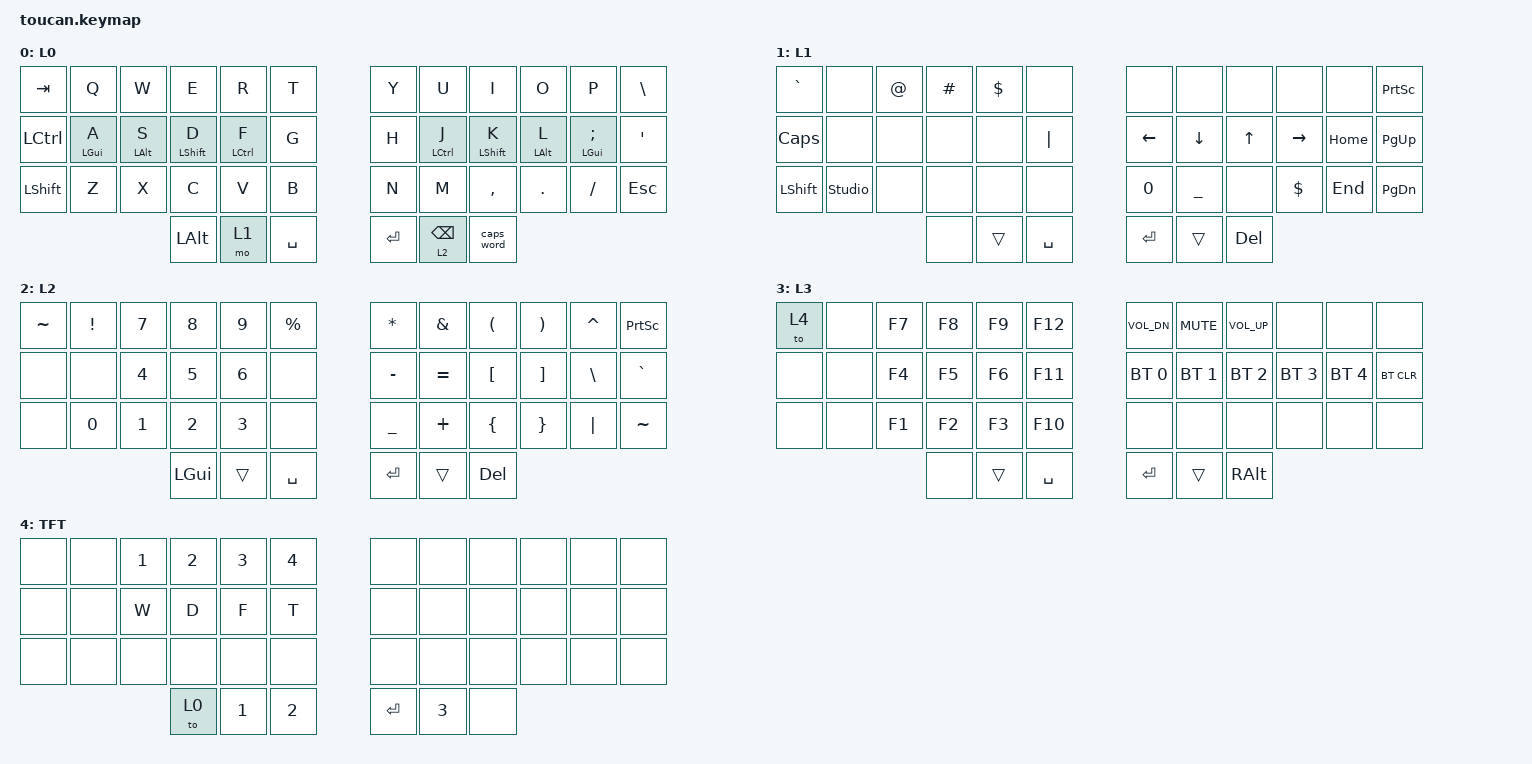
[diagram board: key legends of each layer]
#include <behaviors.dtsi>
#include <dt-bindings/zmk/keys.h>
#include <dt-bindings/zmk/bt.h>
#include <dt-bindings/zmk/outputs.h>

#define L0  0
#define L1  1
#define L2  2
#define L3  3
#define TFT 4

&mt {
    flavor = "tap-preferred";
    tapping-term-ms = <200>;
};

&lt {
    tapping-term-ms = <200>;
    quick-tap-ms = <175>;
    flavor = "tap-preferred";
};

/ {    
    conditional_layers {
        compatible = "zmk,conditional-layers";
        tri_layer {
            if-layers = <1 2>;
            then-layer = <3>;
        };
    };

    behaviors {
        hml: homerow_mod_left {
            compatible = "zmk,behavior-hold-tap";
            label = "HOME_ROW_MOD";
            display-name = "HRM-Left";
            #binding-cells = <2>;
            flavor = "balanced";
            require-prior-idle-ms = <125>;
            tapping-term-ms = <280>;
            quick_tap_ms = <175>;
            bindings = <&kp>, <&kp>;
            hold-trigger-key-positions = <6 7 8 9 10 11 18 19 20 21 22 23 30 31 32 33 34 35 39 40 41>;
            hold-trigger-on-release;
        };
        hmr: homerow_mod_right {
            compatible = "zmk,behavior-hold-tap";
            label = "HOME_ROW_MOD";
            display-name = "HRM-Right";
            #binding-cells = <2>;
            flavor = "balanced";
            require-prior-idle-ms = <125>;
            tapping-term-ms = <280>;
            quick_tap_ms = <175>;
            bindings = <&kp>, <&kp>;
            hold-trigger-key-positions = <0 1 2 3 4 5 12 13 14 15 16 17 24 25 26 27 28 29 36 37 38>;
            hold-trigger-on-release;
        };
    };

    keymap {
        compatible = "zmk,keymap";

        l0 {
            display-name = "L0";
            bindings = <
                &kp TAB   &kp  Q      &kp W       &kp  E        &kp  R       &kp T     &kp Y   &kp  U       &kp  I        &kp  O      &kp  P         &kp BSLH
                &kp LCTRL &hml LGUI A &hml LALT S &hml LSHIFT D &hml LCTRL F &kp G     &kp H   &hmr LCTRL J &hmr LSHIFT K &hmr LALT L &hmr LGUI SEMI &kp SQT
                &kp LSHFT &kp  Z      &kp X       &kp  C        &kp  V       &kp B     &kp N   &kp  M       &kp  COMMA    &kp  DOT    &kp  FSLH      &kp ESC
                                                  &kp  LALT     &mo  1       &kp SPACE &kp RET &lt  2 BSPC  &caps_word
            >;
        };

        l1 {
            display-name = "L1";
            bindings = <
                &kp GRAVE &none          &kp AT &kp HASH &kp DLLR  &none    &none    &none     &none  &none     &none    &kp PSCRN
                &kp CAPS  &none          &none  &none    &none     &kp PIPE &kp LEFT &kp DOWN  &kp UP &kp RIGHT &kp HOME &kp PG_UP
                &kp LSHFT &studio_unlock &none  &none    &none     &none    &kp N0   &kp UNDER &none  &kp DLLR  &kp END  &kp PG_DN
                                         &none  &trans   &kp SPACE &kp RET  &trans   &kp DEL
            >;
        };

        l2 {
            display-name = "L2";
            bindings = <
                &kp TILDE &kp EXCL &kp N7 &kp N8   &kp N9 &kp PRCNT &kp STAR   &kp AMPS  &kp LPAR &kp RPAR &kp CARET &kp PSCRN
                &none     &none    &kp N4 &kp N5   &kp N6 &none     &kp MINUS  &kp EQUAL &kp LBKT &kp RBKT &kp BSLH  &kp GRAVE
                &none     &kp N0   &kp N1 &kp N2   &kp N3 &none     &kp UNDER  &kp PLUS  &kp LBRC &kp RBRC &kp PIPE  &kp TILDE
                                          &kp LGUI &trans &kp SPACE &kp RET    &trans    &kp DEL
            >;
        };

        l3 {
            display-name = "L3";
            bindings = <
                &to 4 &none &kp F7 &kp F8 &kp F9  &kp F12   &kp C_VOL_DN &kp C_MUTE   &kp C_VOL_UP &none        &none        &none
                &none &none &kp F4 &kp F5 &kp F6  &kp F11   &bt BT_SEL 0 &bt BT_SEL 1 &bt BT_SEL 2 &bt BT_SEL 3 &bt BT_SEL 4 &bt BT_CLR
                &none &none &kp F1 &kp F2 &kp F3  &kp F10   &none        &none        &none        &none        &none        &none
                                   &none  &trans  &kp SPACE &kp RET      &trans       &kp RALT
            >;
        };

        tft {
            display-name = "TFT";
            bindings = <
                &none &none &kp N1 &kp N2 &kp N3 &kp N4 &none   &none  &none &none &none &none
                &none &none &kp W  &kp D  &kp F  &kp T  &none   &none  &none &none &none &none
                &none &none &none  &none  &none  &none  &none   &none  &none &none &none &none
                                   &to 0  &kp N1 &kp N2 &kp RET &kp N3 &none
            >;
        };
    };
};
